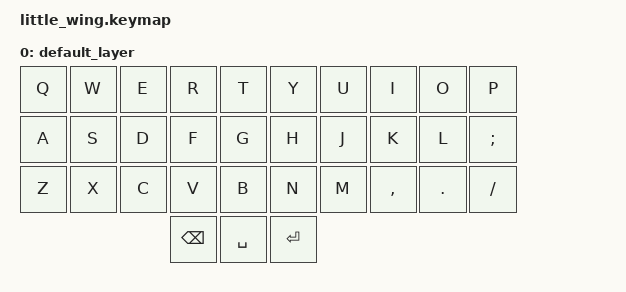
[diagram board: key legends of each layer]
/ {
    keymap {
        compatible = "zmk,keymap";

        default_layer {
            bindings = <
            //╭──────────┬──────────┬──────────┬──────────┬──────────╮   ╭──────────┬──────────┬──────────┬──────────┬──────────╮
            //│  Q       │  W       │  E       │  R       │  T       │   │  Y       │  U       │  I       │  O       │  P       │
                &kp Q      &kp W      &kp E      &kp R      &kp T          &kp Y      &kp U      &kp I      &kp O      &kp P
            //├──────────┼──────────┼──────────┼──────────┼──────────┤   ├──────────┼──────────┼──────────┼──────────┼──────────┤
            //│  A       │  S       │  D       │  F       │  G       │   │  H       │  J       │  K       │  L       │  ;       │
                &kp A      &kp S      &kp D      &kp F      &kp G          &kp H      &kp J      &kp K      &kp L      &kp SEMI
            //├──────────┼──────────┼──────────┼──────────┼──────────┤   ├──────────┼──────────┼──────────┼──────────┼──────────┤
            //│  Z       │  X       │  C       │  V       │  B       │   │  N       │  M       │ , <      │ . >      │ / ?      │
                &kp Z      &kp X      &kp C      &kp V      &kp B          &kp N      &kp M      &kp COMMA  &kp DOT    &kp FSLH
            //╰──────────┴──────────┴──────────┼──────────┼──────────┤   ├──────────┼──────────┴──────────┴──────────┴──────────╯
                                                 &kp BSPC   &kp SPACE      &kp ENTER
            //                                 ╰──────────┴──────────╯   ╰──────────╯
            >;
        };
    };
 };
